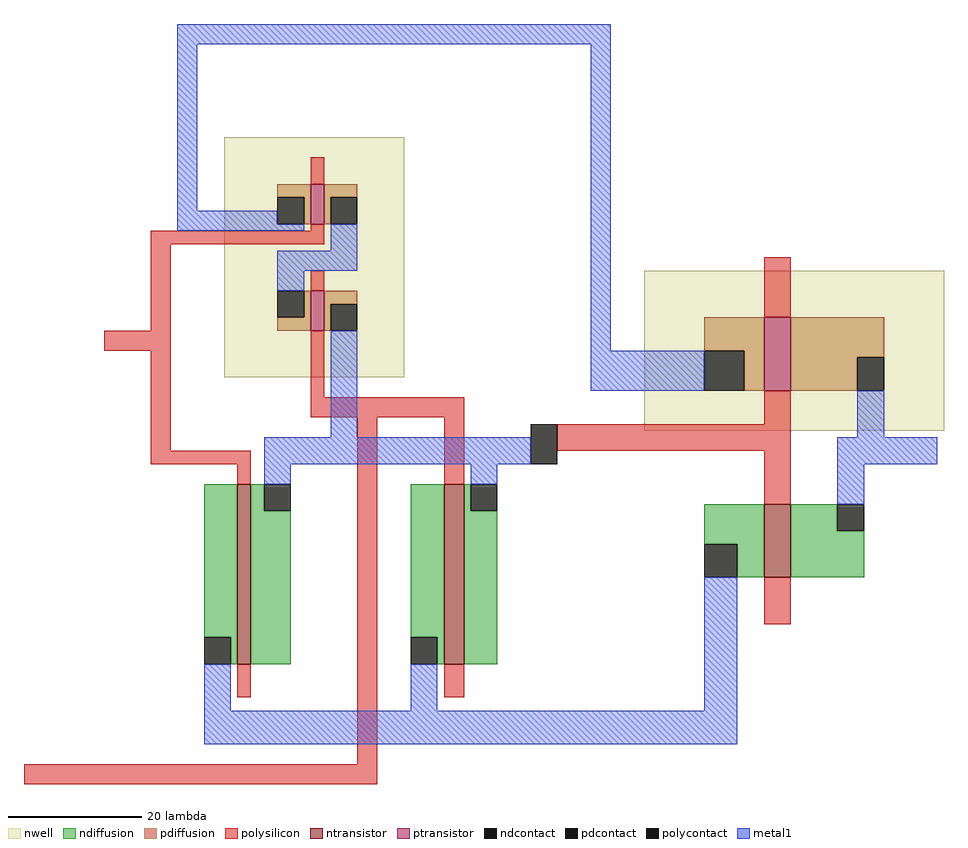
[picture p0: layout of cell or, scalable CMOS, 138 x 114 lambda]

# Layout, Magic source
magic
tech scmos
<< nwell >>
rect 171 60 198 96
rect 234 52 279 76
<< ntransistor >>
rect 173 17 175 44
rect 204 17 207 44
rect 252 30 256 41
<< ptransistor >>
rect 184 83 186 89
rect 184 67 186 73
rect 252 58 256 69
<< ndiffusion >>
rect 168 21 173 44
rect 172 17 173 21
rect 175 40 177 44
rect 175 17 181 40
rect 199 21 204 44
rect 203 17 204 21
rect 207 40 208 44
rect 207 17 212 40
rect 243 35 252 41
rect 248 30 252 35
rect 256 37 263 41
rect 256 30 267 37
<< pdiffusion >>
rect 179 87 184 89
rect 183 83 184 87
rect 186 87 191 89
rect 186 83 187 87
rect 183 69 184 73
rect 179 67 184 69
rect 186 71 191 73
rect 186 67 187 71
rect 243 64 252 69
rect 249 58 252 64
rect 256 63 270 69
rect 256 58 266 63
<< ndcontact >>
rect 168 17 172 21
rect 177 40 181 44
rect 199 17 203 21
rect 208 40 212 44
rect 243 30 248 35
rect 263 37 267 41
<< pdcontact >>
rect 179 83 183 87
rect 187 83 191 87
rect 179 69 183 73
rect 187 67 191 71
rect 243 58 249 64
rect 266 58 270 63
<< polysilicon >>
rect 184 89 186 93
rect 184 82 186 83
rect 160 80 186 82
rect 160 67 163 80
rect 184 73 186 76
rect 252 69 256 78
rect 153 64 163 67
rect 160 49 163 64
rect 184 57 186 67
rect 184 54 207 57
rect 160 47 175 49
rect 173 44 175 47
rect 173 12 175 17
rect 191 2 194 54
rect 204 44 207 54
rect 252 53 256 58
rect 221 49 256 53
rect 252 41 256 49
rect 252 23 256 30
rect 204 12 207 17
rect 141 -1 194 2
<< polycontact >>
rect 217 47 221 53
<< metal1 >>
rect 164 110 229 113
rect 164 85 167 110
rect 164 83 179 85
rect 164 82 183 83
rect 187 79 191 83
rect 179 76 191 79
rect 179 73 183 76
rect 187 51 191 67
rect 226 64 229 110
rect 226 58 243 64
rect 177 47 217 51
rect 266 51 270 58
rect 263 47 278 51
rect 177 44 181 47
rect 208 44 212 47
rect 263 41 267 47
rect 168 10 172 17
rect 199 10 203 17
rect 243 10 248 30
rect 168 5 248 10
<< end >>
